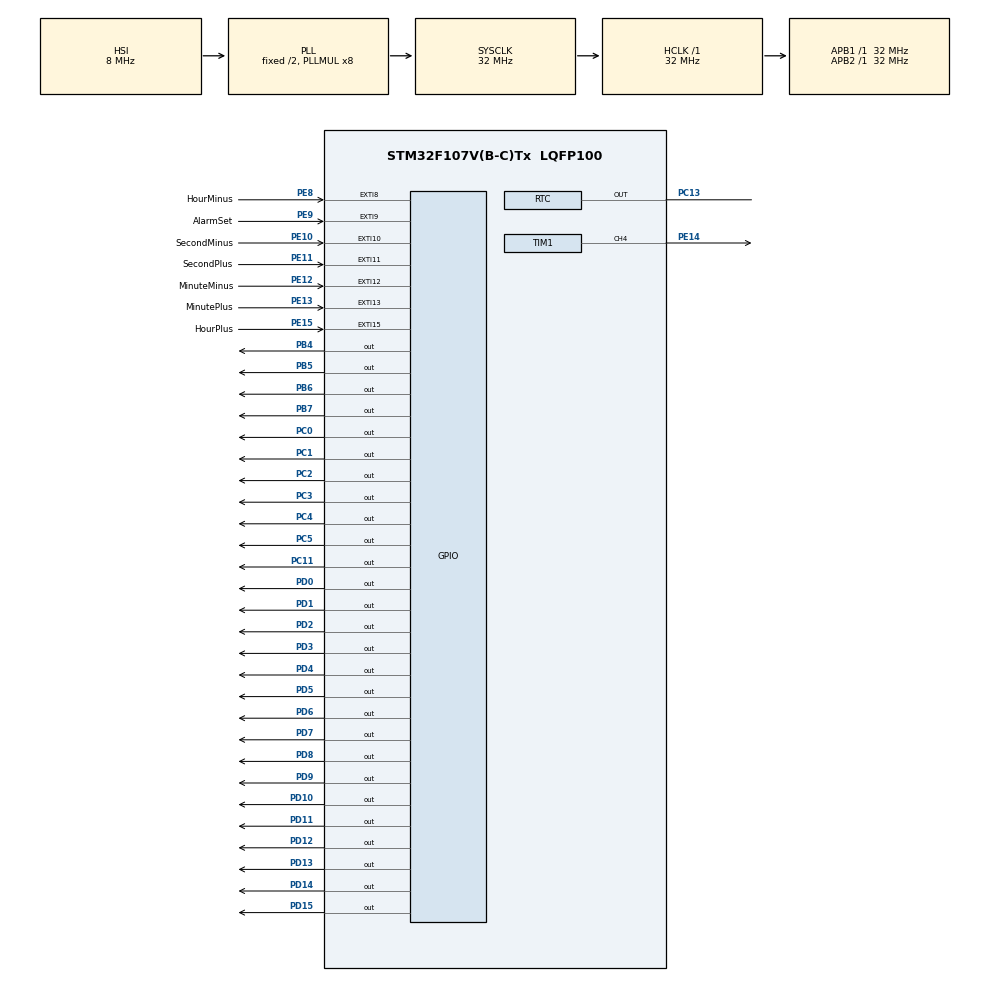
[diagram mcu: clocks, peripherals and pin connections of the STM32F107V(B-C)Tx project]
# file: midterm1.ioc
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Mcu.Family=STM32F1
Mcu.Name=STM32F107V(B-C)Tx
Mcu.Package=LQFP100
NVIC.EXTI15_10_IRQn=true\:0\:0\:false\:false\:true\:true\:true
NVIC.EXTI9_5_IRQn=true\:0\:0\:false\:false\:true\:true\:true
NVIC.PriorityGroup=NVIC_PRIORITYGROUP_4
NVIC.RTC_Alarm_IRQn=true\:0\:0\:false\:false\:true\:true\:true
NVIC.RTC_IRQn=true\:0\:0\:false\:false\:true\:true\:true
PB4.Signal=GPIO_Output
PB5.Signal=GPIO_Output
PB6.Signal=GPIO_Output
PB7.Signal=GPIO_Output
PC0.Signal=GPIO_Output
PC1.Signal=GPIO_Output
PC11.Signal=GPIO_Output
PC13-TAMPER-RTC.Mode=RTC OUT
PC13-TAMPER-RTC.Signal=RTC_OUT
PC2.Signal=GPIO_Output
PC3.Signal=GPIO_Output
PC4.Signal=GPIO_Output
PC5.Signal=GPIO_Output
PD0.Signal=GPIO_Output
PD1.Signal=GPIO_Output
PD10.Signal=GPIO_Output
PD11.Signal=GPIO_Output
PD12.Signal=GPIO_Output
PD13.Signal=GPIO_Output
PD14.Signal=GPIO_Output
PD15.Signal=GPIO_Output
PD2.Signal=GPIO_Output
PD3.Signal=GPIO_Output
PD4.Signal=GPIO_Output
PD5.Signal=GPIO_Output
PD6.Signal=GPIO_Output
PD7.Signal=GPIO_Output
PD8.Signal=GPIO_Output
PD9.Signal=GPIO_Output
PE10.GPIO_Label=SecondMinus
PE10.Signal=GPXTI10
PE11.GPIO_Label=SecondPlus
PE11.Signal=GPXTI11
PE12.GPIO_Label=MinuteMinus
PE12.Signal=GPXTI12
PE13.GPIO_Label=MinutePlus
PE13.Signal=GPXTI13
PE14.Signal=S_TIM1_CH4
PE15.GPIO_Label=HourPlus
PE15.Signal=GPXTI15
PE8.GPIO_Label=HourMinus
PE8.Signal=GPXTI8
PE9.GPIO_Label=AlarmSet
PE9.Signal=GPXTI9
ProjectManager.HeapSize=0x200
ProjectManager.StackSize=0x400
ProjectManager.TargetToolchain=STM32CubeIDE
RCC.AHBFreq_Value=32000000
RCC.APB1Freq_Value=32000000
RCC.APB1TimFreq_Value=32000000
RCC.APB2Freq_Value=32000000
RCC.APB2TimFreq_Value=32000000
RCC.HCLKFreq_Value=32000000
RCC.PLLMUL=RCC_PLL_MUL8
RCC.SYSCLKFreq_VALUE=32000000
RCC.SYSCLKSource=RCC_SYSCLKSOURCE_PLLCLK
RCC.USBFreq_Value=21333333.333333332
RTC.Date=6
RTC.Format=RTC_FORMAT_BIN
RTC.Hours=1
RTC.Hours_A-RTC\ OUT=1
RTC.Minutes=12
RTC.Minutes_A-RTC\ OUT=13
RTC.Month=RTC_MONTH_MAY
RTC.Seconds=15
RTC.Seconds_A-RTC\ OUT=15
RTC.WeekDay=RTC_WEEKDAY_WEDNESDAY
RTC.Year=20
SH.S_TIM1_CH4.0=TIM1_CH4,PWM Generation4 CH4
TIM1.Channel-PWM\ Generation4\ CH4=TIM_CHANNEL_4
TIM1.Period=1000
TIM1.Prescaler=32000
TIM1.Pulse-PWM\ Generation4\ CH4=500
VP_RTC_VS_RTC_Activate.Mode=RTC_Enabled
VP_SYS_VS_ND.Mode=No_Debug
VP_TIM1_VS_ClockSourceINT.Mode=Internal
board=custom

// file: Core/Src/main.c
/* USER CODE BEGIN Header */
/**
  ******************************************************************************
  * @file           : main.c
  * @brief          : Main program body
  ******************************************************************************
  * @attention
  *
  * <h2><center>&copy; Copyright (c) 2020 STMicroelectronics.
  * All rights reserved.</center></h2>
  *
  * This software component is licensed by ST under BSD 3-Clause license,
  * the "License"; You may not use this file except in compliance with the
  * License. You may obtain a copy of the License at:
  *                        opensource.org/licenses/BSD-3-Clause
  *
  ******************************************************************************
  */
/* USER CODE END Header */

#include "main.h"

RTC_HandleTypeDef hrtc;

TIM_HandleTypeDef htim1;

/* USER CODE BEGIN PV */
uint8_t alarmflag = 0;
RTC_TimeTypeDef sTime = {0};
RTC_AlarmTypeDef sAlarm = {0};
/* USER CODE END PV */

void SystemClock_Config(void);
static void MX_GPIO_Init(void);
static void MX_RTC_Init(void);
static void MX_TIM1_Init(void);

int main(void)
{

  /* MCU Configuration--------------------------------------------------------*/

  /* Reset of all peripherals, Initializes the Flash interface and the Systick. */
  HAL_Init();

  /* Configure the system clock */
  SystemClock_Config();

  /* Initialize all configured peripherals */
  MX_GPIO_Init();
  MX_RTC_Init();
  MX_TIM1_Init();

  /* Infinite loop */
  /* USER CODE BEGIN WHILE */

  sAlarm.AlarmTime.Hours = 1;
  sAlarm.AlarmTime.Minutes = 13;
  sAlarm.AlarmTime.Seconds = 5;
  sAlarm.Alarm = RTC_ALARM_A;

  while (1)
  {
    /* USER CODE END WHILE */

    /* USER CODE BEGIN 3 */
	  HAL_Delay(100);
	  RTC_TimeTypeDef tmpTime;
	  RTC_AlarmTypeDef tmpAlarm;
	  HAL_RTC_GetTime(&hrtc, &tmpTime, RTC_FORMAT_BIN);
	  HAL_RTC_GetAlarm(&hrtc, &tmpAlarm, RTC_ALARM_A, RTC_FORMAT_BIN);

	  if(alarmflag == 0) {
		  uint8_t secFirstDigit = tmpTime.Seconds%10;
		  uint8_t secSecondDigit = tmpTime.Seconds/10;

	  	  HAL_GPIO_WritePin(GPIOD, GPIO_PIN_0, secFirstDigit & 0x01);
	  	  HAL_GPIO_WritePin(GPIOD, GPIO_PIN_1, secFirstDigit & 0x02);
	  	  HAL_GPIO_WritePin(GPIOD, GPIO_PIN_2, secFirstDigit & 0x04);
	  	  HAL_GPIO_WritePin(GPIOD, GPIO_PIN_3, secFirstDigit & 0x08);

	  	  HAL_GPIO_WritePin(GPIOD, GPIO_PIN_4, secSecondDigit & 0x01);
	  	  HAL_GPIO_WritePin(GPIOD, GPIO_PIN_5, secSecondDigit & 0x02);
	  	  HAL_GPIO_WritePin(GPIOD, GPIO_PIN_6, secSecondDigit & 0x04);
	  	  HAL_GPIO_WritePin(GPIOD, GPIO_PIN_7, secSecondDigit & 0x08);

	  	  uint8_t minFirstDigit = tmpTime.Minutes%10;
	  	  uint8_t minSecondDigit = tmpTime.Minutes/10;

	  	  HAL_GPIO_WritePin(GPIOD, GPIO_PIN_8, minFirstDigit & 0x01);
	  	  HAL_GPIO_WritePin(GPIOD, GPIO_PIN_9, minFirstDigit & 0x02);
	  	  HAL_GPIO_WritePin(GPIOD, GPIO_PIN_10, minFirstDigit & 0x04);
	  	  HAL_GPIO_WritePin(GPIOD, GPIO_PIN_11, minFirstDigit & 0x08);

	  	  HAL_GPIO_WritePin(GPIOD, GPIO_PIN_12, minSecondDigit & 0x01);
	  	  HAL_GPIO_WritePin(GPIOD, GPIO_PIN_13, minSecondDigit & 0x02);
	  	  HAL_GPIO_WritePin(GPIOD, GPIO_PIN_14, minSecondDigit & 0x04);
	  	  HAL_GPIO_WritePin(GPIOD, GPIO_PIN_15, minSecondDigit & 0x08);

	  	  uint8_t hourFirstDigit = tmpTime.Hours%10;
	  	  uint8_t hourSecondDigit = tmpTime.Hours/10;

	  	  HAL_GPIO_WritePin(GPIOC, GPIO_PIN_0, hourFirstDigit & 0x01);
	  	  HAL_GPIO_WritePin(GPIOC, GPIO_PIN_1, hourFirstDigit & 0x02);
	  	  HAL_GPIO_WritePin(GPIOC, GPIO_PIN_2, hourFirstDigit & 0x04);
	  	  HAL_GPIO_WritePin(GPIOC, GPIO_PIN_3, hourFirstDigit & 0x08);

	  	  HAL_GPIO_WritePin(GPIOC, GPIO_PIN_4, hourSecondDigit & 0x01);
	  	  HAL_GPIO_WritePin(GPIOC, GPIO_PIN_5, hourSecondDigit & 0x02);
	  	  HAL_GPIO_WritePin(GPIOC, GPIO_PIN_6, hourSecondDigit & 0x04);
	  	  HAL_GPIO_WritePin(GPIOC, GPIO_PIN_7, hourSecondDigit & 0x08);

	  }
	  else if (alarmflag == 1) {
		  uint8_t secFirstDigit = tmpAlarm.AlarmTime.Seconds%10;
		  uint8_t secSecondDigit = tmpAlarm.AlarmTime.Seconds/10;

		  HAL_GPIO_WritePin(GPIOD, GPIO_PIN_0, secFirstDigit & 0x01);
		  HAL_GPIO_WritePin(GPIOD, GPIO_PIN_1, secFirstDigit & 0x02);
		  HAL_GPIO_WritePin(GPIOD, GPIO_PIN_2, secFirstDigit & 0x04);
		  HAL_GPIO_WritePin(GPIOD, GPIO_PIN_3, secFirstDigit & 0x08);

		  HAL_GPIO_WritePin(GPIOD, GPIO_PIN_4, secSecondDigit & 0x01);
		  HAL_GPIO_WritePin(GPIOD, GPIO_PIN_5, secSecondDigit & 0x02);
		  HAL_GPIO_WritePin(GPIOD, GPIO_PIN_6, secSecondDigit & 0x04);
		  HAL_GPIO_WritePin(GPIOD, GPIO_PIN_7, secSecondDigit & 0x08);

		  uint8_t minFirstDigit = tmpAlarm.AlarmTime.Minutes%10;
		  uint8_t minSecondDigit = tmpAlarm.AlarmTime.Minutes/10;

		  HAL_GPIO_WritePin(GPIOD, GPIO_PIN_8, minFirstDigit & 0x01);
		  HAL_GPIO_WritePin(GPIOD, GPIO_PIN_9, minFirstDigit & 0x02);
		  HAL_GPIO_WritePin(GPIOD, GPIO_PIN_10, minFirstDigit & 0x04);
		  HAL_GPIO_WritePin(GPIOD, GPIO_PIN_11, minFirstDigit & 0x08);

		  HAL_GPIO_WritePin(GPIOD, GPIO_PIN_12, minSecondDigit & 0x01);
		  HAL_GPIO_WritePin(GPIOD, GPIO_PIN_13, minSecondDigit & 0x02);
		  HAL_GPIO_WritePin(GPIOD, GPIO_PIN_14, minSecondDigit & 0x04);
		  HAL_GPIO_WritePin(GPIOD, GPIO_PIN_15, minSecondDigit & 0x08);

		  uint8_t hourFirstDigit = tmpAlarm.AlarmTime.Hours%10;
		  uint8_t hourSecondDigit = tmpAlarm.AlarmTime.Hours/10;

		  HAL_GPIO_WritePin(GPIOC, GPIO_PIN_0, hourFirstDigit & 0x01);
		  HAL_GPIO_WritePin(GPIOC, GPIO_PIN_1, hourFirstDigit & 0x02);
		  HAL_GPIO_WritePin(GPIOC, GPIO_PIN_2, hourFirstDigit & 0x04);
		  HAL_GPIO_WritePin(GPIOC, GPIO_PIN_3, hourFirstDigit & 0x08);

		  HAL_GPIO_WritePin(GPIOC, GPIO_PIN_4, hourSecondDigit & 0x01);
		  HAL_GPIO_WritePin(GPIOC, GPIO_PIN_5, hourSecondDigit & 0x02);
		  HAL_GPIO_WritePin(GPIOC, GPIO_PIN_6, hourSecondDigit & 0x04);
		  HAL_GPIO_WritePin(GPIOC, GPIO_PIN_7, hourSecondDigit & 0x08);
	  }
	  if (tmpAlarm.AlarmTime.Hours == tmpTime.Hours) {
		  if (tmpAlarm.AlarmTime.Minutes == tmpTime.Minutes) {
			  if(tmpAlarm.AlarmTime.Seconds == tmpTime.Seconds) {
				  HAL_TIM_PWM_Start(&htim1, TIM_CHANNEL_4);
				  HAL_Delay(5000);
				  HAL_TIM_PWM_Stop(&htim1, TIM_CHANNEL_4);
			  }
		  }
	  }
  }
  /* USER CODE END 3 */
}

void SystemClock_Config(void)
{
  RCC_OscInitTypeDef RCC_OscInitStruct = {0};
  RCC_ClkInitTypeDef RCC_ClkInitStruct = {0};
  RCC_PeriphCLKInitTypeDef PeriphClkInit = {0};

  /** Initializes the CPU, AHB and APB busses clocks
  */
  RCC_OscInitStruct.OscillatorType = RCC_OSCILLATORTYPE_HSI|RCC_OSCILLATORTYPE_LSI;
  RCC_OscInitStruct.HSIState = RCC_HSI_ON;
  RCC_OscInitStruct.HSICalibrationValue = RCC_HSICALIBRATION_DEFAULT;
  RCC_OscInitStruct.LSIState = RCC_LSI_ON;
  RCC_OscInitStruct.Prediv1Source = RCC_PREDIV1_SOURCE_HSE;
  RCC_OscInitStruct.PLL.PLLState = RCC_PLL_ON;
  RCC_OscInitStruct.PLL.PLLSource = RCC_PLLSOURCE_HSI_DIV2;
  RCC_OscInitStruct.PLL.PLLMUL = RCC_PLL_MUL8;
  RCC_OscInitStruct.PLL2.PLL2State = RCC_PLL_NONE;
  if (HAL_RCC_OscConfig(&RCC_OscInitStruct) != HAL_OK)
  {
    Error_Handler();
  }
  /** Initializes the CPU, AHB and APB busses clocks
  */
  RCC_ClkInitStruct.ClockType = RCC_CLOCKTYPE_HCLK|RCC_CLOCKTYPE_SYSCLK
                              |RCC_CLOCKTYPE_PCLK1|RCC_CLOCKTYPE_PCLK2;
  RCC_ClkInitStruct.SYSCLKSource = RCC_SYSCLKSOURCE_PLLCLK;
  RCC_ClkInitStruct.AHBCLKDivider = RCC_SYSCLK_DIV1;
  RCC_ClkInitStruct.APB1CLKDivider = RCC_HCLK_DIV1;
  RCC_ClkInitStruct.APB2CLKDivider = RCC_HCLK_DIV1;

  if (HAL_RCC_ClockConfig(&RCC_ClkInitStruct, FLASH_LATENCY_1) != HAL_OK)
  {
    Error_Handler();
  }
  PeriphClkInit.PeriphClockSelection = RCC_PERIPHCLK_RTC;
  PeriphClkInit.RTCClockSelection = RCC_RTCCLKSOURCE_LSI;
  if (HAL_RCCEx_PeriphCLKConfig(&PeriphClkInit) != HAL_OK)
  {
    Error_Handler();
  }
  /** Configure the Systick interrupt time
  */
  __HAL_RCC_PLLI2S_ENABLE();
}

static void MX_RTC_Init(void)
{

  RTC_TimeTypeDef sTime = {0};
  RTC_DateTypeDef DateToUpdate = {0};
  RTC_AlarmTypeDef sAlarm = {0};

  /** Initialize RTC Only
  */
  hrtc.Instance = RTC;
  hrtc.Init.AsynchPrediv = RTC_AUTO_1_SECOND;
  hrtc.Init.OutPut = RTC_OUTPUTSOURCE_ALARM;
  if (HAL_RTC_Init(&hrtc) != HAL_OK)
  {
    Error_Handler();
  }

  /** Initialize RTC and set the Time and Date
  */
  sTime.Hours = 1;
  sTime.Minutes = 12;
  sTime.Seconds = 00;

  if (HAL_RTC_SetTime(&hrtc, &sTime, RTC_FORMAT_BIN) != HAL_OK)
  {
    Error_Handler();
  }
  DateToUpdate.WeekDay = RTC_WEEKDAY_WEDNESDAY;
  DateToUpdate.Month = RTC_MONTH_MAY;
  DateToUpdate.Date = 6;
  DateToUpdate.Year = 20;

  if (HAL_RTC_SetDate(&hrtc, &DateToUpdate, RTC_FORMAT_BIN) != HAL_OK)
  {
    Error_Handler();
  }
  /** Enable the Alarm A
  */
  sAlarm.AlarmTime.Hours = 1;
  sAlarm.AlarmTime.Minutes = 13;
  sAlarm.AlarmTime.Seconds = 5;
  sAlarm.Alarm = RTC_ALARM_A;
  if (HAL_RTC_SetAlarm_IT(&hrtc, &sAlarm, RTC_FORMAT_BIN) != HAL_OK)
  {
    Error_Handler();
  }

}

static void MX_TIM1_Init(void)
{

  TIM_ClockConfigTypeDef sClockSourceConfig = {0};
  TIM_MasterConfigTypeDef sMasterConfig = {0};
  TIM_OC_InitTypeDef sConfigOC = {0};
  TIM_BreakDeadTimeConfigTypeDef sBreakDeadTimeConfig = {0};

  htim1.Instance = TIM1;
  htim1.Init.Prescaler = 32000;
  htim1.Init.CounterMode = TIM_COUNTERMODE_UP;
  htim1.Init.Period = 1000;
  htim1.Init.ClockDivision = TIM_CLOCKDIVISION_DIV1;
  htim1.Init.RepetitionCounter = 0;
  htim1.Init.AutoReloadPreload = TIM_AUTORELOAD_PRELOAD_DISABLE;
  if (HAL_TIM_Base_Init(&htim1) != HAL_OK)
  {
    Error_Handler();
  }
  sClockSourceConfig.ClockSource = TIM_CLOCKSOURCE_INTERNAL;
  if (HAL_TIM_ConfigClockSource(&htim1, &sClockSourceConfig) != HAL_OK)
  {
    Error_Handler();
  }
  if (HAL_TIM_PWM_Init(&htim1) != HAL_OK)
  {
    Error_Handler();
  }
  sMasterConfig.MasterOutputTrigger = TIM_TRGO_RESET;
  sMasterConfig.MasterSlaveMode = TIM_MASTERSLAVEMODE_DISABLE;
  if (HAL_TIMEx_MasterConfigSynchronization(&htim1, &sMasterConfig) != HAL_OK)
  {
    Error_Handler();
  }
  sConfigOC.OCMode = TIM_OCMODE_PWM1;
  sConfigOC.Pulse = 500;
  sConfigOC.OCPolarity = TIM_OCPOLARITY_HIGH;
  sConfigOC.OCFastMode = TIM_OCFAST_DISABLE;
  sConfigOC.OCIdleState = TIM_OCIDLESTATE_RESET;
  sConfigOC.OCNIdleState = TIM_OCNIDLESTATE_RESET;
  if (HAL_TIM_PWM_ConfigChannel(&htim1, &sConfigOC, TIM_CHANNEL_4) != HAL_OK)
  {
    Error_Handler();
  }
  sBreakDeadTimeConfig.OffStateRunMode = TIM_OSSR_DISABLE;
  sBreakDeadTimeConfig.OffStateIDLEMode = TIM_OSSI_DISABLE;
  sBreakDeadTimeConfig.LockLevel = TIM_LOCKLEVEL_OFF;
  sBreakDeadTimeConfig.DeadTime = 0;
  sBreakDeadTimeConfig.BreakState = TIM_BREAK_DISABLE;
  sBreakDeadTimeConfig.BreakPolarity = TIM_BREAKPOLARITY_HIGH;
  sBreakDeadTimeConfig.AutomaticOutput = TIM_AUTOMATICOUTPUT_DISABLE;
  if (HAL_TIMEx_ConfigBreakDeadTime(&htim1, &sBreakDeadTimeConfig) != HAL_OK)
  {
    Error_Handler();
  }
  HAL_TIM_MspPostInit(&htim1);

}

static void MX_GPIO_Init(void)
{
  GPIO_InitTypeDef GPIO_InitStruct = {0};

  /* GPIO Ports Clock Enable */
  __HAL_RCC_GPIOC_CLK_ENABLE();
  __HAL_RCC_GPIOE_CLK_ENABLE();
  __HAL_RCC_GPIOD_CLK_ENABLE();
  __HAL_RCC_GPIOB_CLK_ENABLE();

  /*Configure GPIO pin Output Level */
  HAL_GPIO_WritePin(GPIOC, GPIO_PIN_0|GPIO_PIN_1|GPIO_PIN_2|GPIO_PIN_3
                          |GPIO_PIN_4|GPIO_PIN_5|GPIO_PIN_11, GPIO_PIN_RESET);

  /*Configure GPIO pin Output Level */
  HAL_GPIO_WritePin(GPIOD, GPIO_PIN_8|GPIO_PIN_9|GPIO_PIN_10|GPIO_PIN_11
                          |GPIO_PIN_12|GPIO_PIN_13|GPIO_PIN_14|GPIO_PIN_15
                          |GPIO_PIN_0|GPIO_PIN_1|GPIO_PIN_2|GPIO_PIN_3
                          |GPIO_PIN_4|GPIO_PIN_5|GPIO_PIN_6|GPIO_PIN_7, GPIO_PIN_RESET);

  /*Configure GPIO pin Output Level */
  HAL_GPIO_WritePin(GPIOB, GPIO_PIN_4|GPIO_PIN_5|GPIO_PIN_6|GPIO_PIN_7, GPIO_PIN_RESET);

  /*Configure GPIO pins : PC0 PC1 PC2 PC3
                           PC4 PC5 PC11 */
  GPIO_InitStruct.Pin = GPIO_PIN_0|GPIO_PIN_1|GPIO_PIN_2|GPIO_PIN_3
                          |GPIO_PIN_4|GPIO_PIN_5|GPIO_PIN_11;
  GPIO_InitStruct.Mode = GPIO_MODE_OUTPUT_PP;
  GPIO_InitStruct.Pull = GPIO_NOPULL;
  GPIO_InitStruct.Speed = GPIO_SPEED_FREQ_LOW;
  HAL_GPIO_Init(GPIOC, &GPIO_InitStruct);

  /*Configure GPIO pins : HourMinus_Pin AlarmSet_Pin SecondMinus_Pin SecondPlus_Pin
                           MinuteMinus_Pin MinutePlus_Pin HourPlus_Pin */
  GPIO_InitStruct.Pin = HourMinus_Pin|AlarmSet_Pin|SecondMinus_Pin|SecondPlus_Pin
                          |MinuteMinus_Pin|MinutePlus_Pin|HourPlus_Pin;
  GPIO_InitStruct.Mode = GPIO_MODE_IT_RISING;
  GPIO_InitStruct.Pull = GPIO_NOPULL;
  HAL_GPIO_Init(GPIOE, &GPIO_InitStruct);

  /*Configure GPIO pins : PD8 PD9 PD10 PD11
                           PD12 PD13 PD14 PD15
                           PD0 PD1 PD2 PD3
                           PD4 PD5 PD6 PD7 */
  GPIO_InitStruct.Pin = GPIO_PIN_8|GPIO_PIN_9|GPIO_PIN_10|GPIO_PIN_11
                          |GPIO_PIN_12|GPIO_PIN_13|GPIO_PIN_14|GPIO_PIN_15
                          |GPIO_PIN_0|GPIO_PIN_1|GPIO_PIN_2|GPIO_PIN_3
                          |GPIO_PIN_4|GPIO_PIN_5|GPIO_PIN_6|GPIO_PIN_7;
  GPIO_InitStruct.Mode = GPIO_MODE_OUTPUT_PP;
  GPIO_InitStruct.Pull = GPIO_NOPULL;
  GPIO_InitStruct.Speed = GPIO_SPEED_FREQ_LOW;
  HAL_GPIO_Init(GPIOD, &GPIO_InitStruct);

  /*Configure GPIO pins : PB4 PB5 PB6 PB7 */
  GPIO_InitStruct.Pin = GPIO_PIN_4|GPIO_PIN_5|GPIO_PIN_6|GPIO_PIN_7;
  GPIO_InitStruct.Mode = GPIO_MODE_OUTPUT_PP;
  GPIO_InitStruct.Pull = GPIO_NOPULL;
  GPIO_InitStruct.Speed = GPIO_SPEED_FREQ_LOW;
  HAL_GPIO_Init(GPIOB, &GPIO_InitStruct);

  /* EXTI interrupt init*/
  HAL_NVIC_SetPriority(EXTI9_5_IRQn, 0, 0);
  HAL_NVIC_EnableIRQ(EXTI9_5_IRQn);

  HAL_NVIC_SetPriority(EXTI15_10_IRQn, 0, 0);
  HAL_NVIC_EnableIRQ(EXTI15_10_IRQn);

}

/* USER CODE BEGIN 4 */

void HAL_GPIO_EXTI_Callback(uint16_t GPIO_Pin) {

	UNUSED(GPIO_Pin);
	switch(GPIO_Pin) {
		case AlarmSet_Pin: if (alarmflag) alarmflag = 0; else alarmflag = 1; break;
		case SecondPlus_Pin: if (alarmflag) sAlarm.AlarmTime.Seconds++; break;
		case MinutePlus_Pin: if (alarmflag) sAlarm.AlarmTime.Minutes++; break;
		case HourPlus_Pin: if (alarmflag) sAlarm.AlarmTime.Hours++; break;
		case SecondMinus_Pin: if (alarmflag) sAlarm.AlarmTime.Seconds--; break;
		case MinuteMinus_Pin: if (alarmflag) sAlarm.AlarmTime.Minutes--; break;
		case HourMinus_Pin: if (alarmflag) sAlarm.AlarmTime.Hours--; break;
	}
	if(alarmflag) HAL_RTC_SetAlarm(&hrtc, &sAlarm, RTC_FORMAT_BIN);

}
void HAL_RTC_AlarmEventCallBack(RTC_HandleTypeDef *hrtc) {
	UNUSED(hrtc);
	HAL_GPIO_TogglePin(GPIOC, GPIO_PIN_9);
}
/* USER CODE END 4 */

void Error_Handler(void)
{
}

/************************ (C) COPYRIGHT STMicroelectronics *****END OF FILE****/
